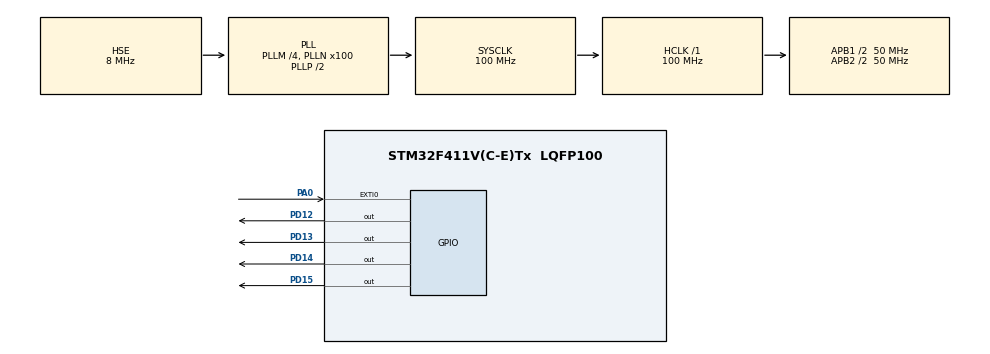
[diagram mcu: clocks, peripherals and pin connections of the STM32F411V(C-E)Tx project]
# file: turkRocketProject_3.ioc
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Mcu.Family=STM32F4
Mcu.Name=STM32F411V(C-E)Tx
Mcu.Package=LQFP100
NVIC.EXTI0_IRQn=true\:0\:0\:false\:false\:true\:true\:true\:true
NVIC.PriorityGroup=NVIC_PRIORITYGROUP_0
PA0-WKUP.GPIO_ModeDefaultEXTI=GPIO_MODE_IT_RISING
PA0-WKUP.GPIO_PuPd=GPIO_PULLDOWN
PA0-WKUP.Signal=GPXTI0
PD12.Signal=GPIO_Output
PD13.Signal=GPIO_Output
PD14.Signal=GPIO_Output
PD15.Signal=GPIO_Output
PH0\ -\ OSC_IN.Mode=HSE-External-Oscillator
PH0\ -\ OSC_IN.Signal=RCC_OSC_IN
PH1\ -\ OSC_OUT.Mode=HSE-External-Oscillator
PH1\ -\ OSC_OUT.Signal=RCC_OSC_OUT
ProjectManager.HeapSize=0x200
ProjectManager.StackSize=0x400
ProjectManager.TargetToolchain=STM32CubeIDE
RCC.48MHZClocksFreq_Value=25000000
RCC.AHBFreq_Value=100000000
RCC.APB1CLKDivider=RCC_HCLK_DIV2
RCC.APB1Freq_Value=50000000
RCC.APB1TimFreq_Value=100000000
RCC.APB2CLKDivider=RCC_HCLK_DIV2
RCC.APB2Freq_Value=50000000
RCC.APB2TimFreq_Value=100000000
RCC.CortexFreq_Value=100000000
RCC.HCLKFreq_Value=100000000
RCC.HSE_VALUE=8000000
RCC.HSI_VALUE=16000000
RCC.LSE_VALUE=32768
RCC.PLLI2SM=5
RCC.PLLI2SN=200
RCC.PLLM=4
RCC.PLLN=100
RCC.PLLQ=8
RCC.PLLSourceVirtual=RCC_PLLSOURCE_HSE
RCC.SYSCLKFreq_VALUE=100000000
RCC.SYSCLKSource=RCC_SYSCLKSOURCE_PLLCLK
RCC.VCOOutputFreq_Value=200000000
board=STM32F411E-DISCO

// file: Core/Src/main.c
/* USER CODE BEGIN Header */
/**
  ******************************************************************************
  * @file           : main.c
  * @brief          : Main program body
  ******************************************************************************
  * @attention
  *
  * Copyright (c) 2023 STMicroelectronics.
  * All rights reserved.
  *
  * This software is licensed under terms that can be found in the LICENSE file
  * in the root directory of this software component.
  * If no LICENSE file comes with this software, it is provided AS-IS.
  *
  ******************************************************************************
  */
/* USER CODE END Header */
#include "main.h"

/* USER CODE BEGIN Includes */
int count=0;
int tim=0;

/* USER CODE END Includes */

void SystemClock_Config(void);
static void MX_GPIO_Init(void);

/* USER CODE BEGIN 0 */
void HAL_GPIO_EXTI_Callback(uint16_t GPIO_Pin)
{
	count++;
	if(count==1){
		tim=250;//ms
		count++;
	}
	else if(count==2){
		tim=500;
		count++;
	}
	else if(count==3){
		tim=750;
		count++;
	}
	else if(count==4){
		tim=1000;
		count=0;
	}
}
/* USER CODE END 0 */

int main(void)
{

  /* MCU Configuration--------------------------------------------------------*/

  /* Reset of all peripherals, Initializes the Flash interface and the Systick. */
  HAL_Init();

  /* Configure the system clock */
  SystemClock_Config();

  /* Initialize all configured peripherals */
  MX_GPIO_Init();

  /* Infinite loop */
  /* USER CODE BEGIN WHILE */
  while (1)
  {
	  HAL_GPIO_TogglePin(GPIOD, GPIO_PIN_All);
	  HAL_Delay(tim);

    /* USER CODE END WHILE */

  }
}

void SystemClock_Config(void)
{
  RCC_OscInitTypeDef RCC_OscInitStruct = {0};
  RCC_ClkInitTypeDef RCC_ClkInitStruct = {0};

  /** Configure the main internal regulator output voltage
  */
  __HAL_RCC_PWR_CLK_ENABLE();
  __HAL_PWR_VOLTAGESCALING_CONFIG(PWR_REGULATOR_VOLTAGE_SCALE1);

  /** Initializes the RCC Oscillators according to the specified parameters
  * in the RCC_OscInitTypeDef structure.
  */
  RCC_OscInitStruct.OscillatorType = RCC_OSCILLATORTYPE_HSE;
  RCC_OscInitStruct.HSEState = RCC_HSE_ON;
  RCC_OscInitStruct.PLL.PLLState = RCC_PLL_ON;
  RCC_OscInitStruct.PLL.PLLSource = RCC_PLLSOURCE_HSE;
  RCC_OscInitStruct.PLL.PLLM = 4;
  RCC_OscInitStruct.PLL.PLLN = 100;
  RCC_OscInitStruct.PLL.PLLP = RCC_PLLP_DIV2;
  RCC_OscInitStruct.PLL.PLLQ = 8;
  if (HAL_RCC_OscConfig(&RCC_OscInitStruct) != HAL_OK)
  {
    Error_Handler();
  }

  /** Initializes the CPU, AHB and APB buses clocks
  */
  RCC_ClkInitStruct.ClockType = RCC_CLOCKTYPE_HCLK|RCC_CLOCKTYPE_SYSCLK
                              |RCC_CLOCKTYPE_PCLK1|RCC_CLOCKTYPE_PCLK2;
  RCC_ClkInitStruct.SYSCLKSource = RCC_SYSCLKSOURCE_PLLCLK;
  RCC_ClkInitStruct.AHBCLKDivider = RCC_SYSCLK_DIV1;
  RCC_ClkInitStruct.APB1CLKDivider = RCC_HCLK_DIV2;
  RCC_ClkInitStruct.APB2CLKDivider = RCC_HCLK_DIV2;

  if (HAL_RCC_ClockConfig(&RCC_ClkInitStruct, FLASH_LATENCY_3) != HAL_OK)
  {
    Error_Handler();
  }
}

static void MX_GPIO_Init(void)
{
  GPIO_InitTypeDef GPIO_InitStruct = {0};

  /* GPIO Ports Clock Enable */
  __HAL_RCC_GPIOH_CLK_ENABLE();
  __HAL_RCC_GPIOA_CLK_ENABLE();
  __HAL_RCC_GPIOD_CLK_ENABLE();

  /*Configure GPIO pin Output Level */
  HAL_GPIO_WritePin(GPIOD, GPIO_PIN_12|GPIO_PIN_13|GPIO_PIN_14|GPIO_PIN_15, GPIO_PIN_RESET);

  /*Configure GPIO pin : PA0 */
  GPIO_InitStruct.Pin = GPIO_PIN_0;
  GPIO_InitStruct.Mode = GPIO_MODE_IT_RISING;
  GPIO_InitStruct.Pull = GPIO_PULLDOWN;
  HAL_GPIO_Init(GPIOA, &GPIO_InitStruct);

  /*Configure GPIO pins : PD12 PD13 PD14 PD15 */
  GPIO_InitStruct.Pin = GPIO_PIN_12|GPIO_PIN_13|GPIO_PIN_14|GPIO_PIN_15;
  GPIO_InitStruct.Mode = GPIO_MODE_OUTPUT_PP;
  GPIO_InitStruct.Pull = GPIO_NOPULL;
  GPIO_InitStruct.Speed = GPIO_SPEED_FREQ_LOW;
  HAL_GPIO_Init(GPIOD, &GPIO_InitStruct);

  /* EXTI interrupt init*/
  HAL_NVIC_SetPriority(EXTI0_IRQn, 0, 0);
  HAL_NVIC_EnableIRQ(EXTI0_IRQn);

}

void Error_Handler(void)
{
  __disable_irq();
  while (1)
  {
  }
}
